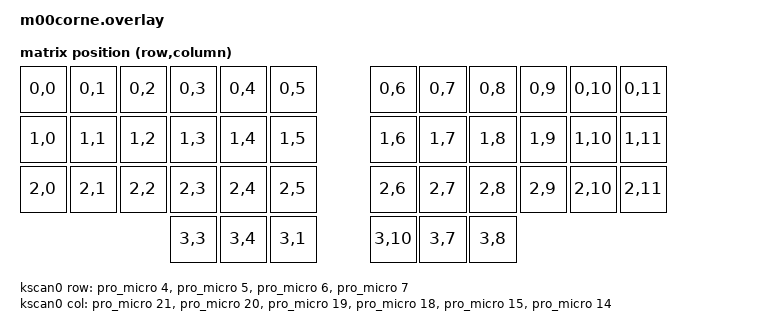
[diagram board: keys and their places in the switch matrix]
/*
 * hardware specifications goes here
 * Corne (CRKBD) ZMK configuration
 * LED count: 54 (27 per side)
 */
#include <dt-bindings/zmk/matrix_transform.h>
#include <dt-bindings/led/led.h>
/ {
	chosen {
		zephyr,display = &oled;
		zmk,kscan = &kscan0;
		zmk,matrix_transform = &default_transform;
		zmk,underglow = &led_strip;
	};

	default_transform: keymap_transform_0 {
		compatible = "zmk,matrix-transform";
		columns = <12>;
		rows = <4>;
		map = <
RC(0,0) RC(0,1) RC(0,2) RC(0,3) RC(0,4) RC(0,5)  RC(0,6)  RC(0,7) RC(0,8) RC(0,9) RC(0,10) RC(0,11)
RC(1,0) RC(1,1) RC(1,2) RC(1,3) RC(1,4) RC(1,5)  RC(1,6)  RC(1,7) RC(1,8) RC(1,9) RC(1,10) RC(1,11)
RC(2,0) RC(2,1) RC(2,2) RC(2,3) RC(2,4) RC(2,5)  RC(2,6)  RC(2,7) RC(2,8) RC(2,9) RC(2,10) RC(2,11)
                        RC(3,3) RC(3,4) RC(3,1)  RC(3,10) RC(3,7) RC(3,8)
		>;
	};

	// LED layout
	led_layout: led_layout {
		compatible = "zmk,led-layout";
		
		// Định nghĩa 54 LED positions
		leds = <
			// Left side underglow (6 LEDs)
			LED_UG_L1 LED_UG_L2 LED_UG_L3 LED_UG_L4 LED_UG_L5 LED_UG_L6
			// Left side per-key (21 LEDs)  
			LED_L1 LED_L2 LED_L3 LED_L4 LED_L5 LED_L6
			LED_L7 LED_L8 LED_L9 LED_L10 LED_L11 LED_L12
			LED_L13 LED_L14 LED_L15 LED_L16 LED_L17 LED_L18
			LED_L19 LED_L20 LED_L21
			// Right side underglow (6 LEDs)
			LED_UG_R1 LED_UG_R2 LED_UG_R3 LED_UG_R4 LED_UG_R5 LED_UG_R6
			// Right side per-key (21 LEDs)
			LED_R1 LED_R2 LED_R3 LED_R4 LED_R5 LED_R6
			LED_R7 LED_R8 LED_R9 LED_R10 LED_R11 LED_R12
			LED_R13 LED_R14 LED_R15 LED_R16 LED_R17 LED_R18
			LED_R19 LED_R20 LED_R21
		>;
	};

	kscan0: kscan {
		compatible = "zmk,kscan-gpio-matrix";
		label = "KSCAN";
		diode-direction = "col2row";

		row-gpios
			= <&pro_micro 4 (GPIO_ACTIVE_HIGH | GPIO_PULL_DOWN)>
			, <&pro_micro 5 (GPIO_ACTIVE_HIGH | GPIO_PULL_DOWN)>
			, <&pro_micro 6 (GPIO_ACTIVE_HIGH | GPIO_PULL_DOWN)>
			, <&pro_micro 7 (GPIO_ACTIVE_HIGH | GPIO_PULL_DOWN)>
			;

		col-gpios
			= <&pro_micro 21 GPIO_ACTIVE_HIGH>
			, <&pro_micro 20 GPIO_ACTIVE_HIGH>
			, <&pro_micro 19 GPIO_ACTIVE_HIGH>
			, <&pro_micro 18 GPIO_ACTIVE_HIGH>
			, <&pro_micro 15 GPIO_ACTIVE_HIGH>
			, <&pro_micro 14 GPIO_ACTIVE_HIGH>
			;
	};
};


&pinctrl {
    spi3_default: spi3_default {
        group1 {
            psels = <NRF_PSEL(SPIM_MOSI, 0, 6)>;
        };
    };

    spi3_sleep: spi3_sleep {
        group1 {
            psels = <NRF_PSEL(SPIM_MOSI, 0, 6)>;
            low-power-enable;
        };
    };
};

&spi3 {
    compatible = "nordic,nrf-spim";
    status = "okay";

    pinctrl-0 = <&spi3_default>;
    pinctrl-1 = <&spi3_sleep>;
    pinctrl-names = "default", "sleep";

    led_strip: ws2812@0 {
        compatible = "worldsemi,ws2812-spi";

        /* SPI */
        reg = <0>; /* ignored, but necessary for SPI bindings */
        spi-max-frequency = <4000000>;

        /* WS2812 */
        chain-length = <54>; /* number of LEDs */
        spi-one-frame = <0x70>;
        spi-zero-frame = <0x40>;
        color-mapping = <LED_COLOR_ID_GREEN
                         LED_COLOR_ID_RED
                         LED_COLOR_ID_BLUE>;
    };
};
